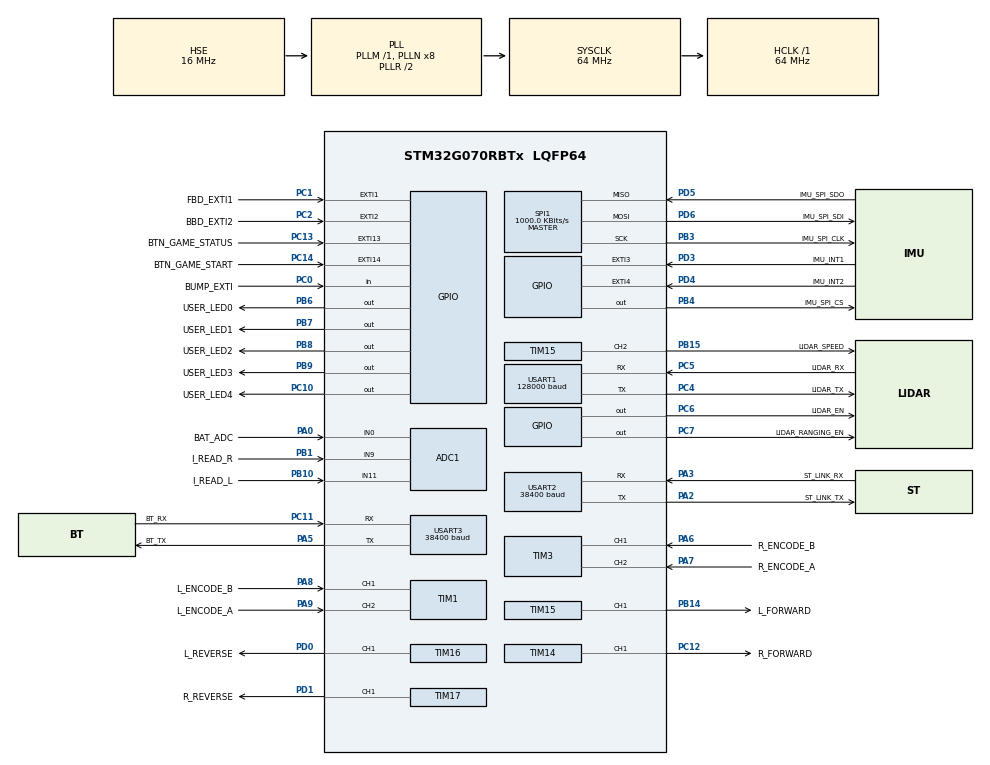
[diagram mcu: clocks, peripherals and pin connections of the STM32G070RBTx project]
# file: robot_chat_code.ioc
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ADC1.Channel-6\#ChannelRegularConversion=ADC_CHANNEL_0
ADC1.Channel-7\#ChannelRegularConversion=ADC_CHANNEL_9
ADC1.Channel-8\#ChannelRegularConversion=ADC_CHANNEL_11
ADC1.DMAContinuousRequests=ENABLE
ADC1.DiscontinuousConvMode=DISABLE
ADC1.EOCSelection=ADC_EOC_SEQ_CONV
ADC1.ExternalTrigConv=ADC_EXTERNALTRIG_T15_TRGO
ADC1.NbrOfConversion=3
ADC1.NbrOfConversionFlag=1
ADC1.Overrun=ADC_OVR_DATA_PRESERVED
ADC1.OversamplingMode=ENABLE
ADC1.Rank-6\#ChannelRegularConversion=1
ADC1.Rank-7\#ChannelRegularConversion=2
ADC1.Rank-8\#ChannelRegularConversion=3
ADC1.Ratio=ADC_OVERSAMPLING_RATIO_16
ADC1.SamplingTime-6\#ChannelRegularConversion=ADC_SAMPLINGTIME_COMMON_1
ADC1.SamplingTime-7\#ChannelRegularConversion=ADC_SAMPLINGTIME_COMMON_2
ADC1.SamplingTime-8\#ChannelRegularConversion=ADC_SAMPLINGTIME_COMMON_2
ADC1.SamplingTimeCommon1=ADC_SAMPLETIME_1CYCLE_5
ADC1.SamplingTimeCommon2=ADC_SAMPLETIME_1CYCLE_5
ADC1.ScanConvMode=ADC_SCAN_ENABLE
ADC1.SelectedChannel=ADC_CHANNEL_0|ADC_CHANNEL_9|ADC_CHANNEL_11
ADC1.Sequencer=FULLY_CONFIGURABLE
ADC1.TriggerFrequencyMode=ADC_TRIGGER_FREQ_HIGH
ADC1.master=1
Dma.ADC1.2.Direction=DMA_PERIPH_TO_MEMORY
Dma.ADC1.2.EventEnable=DISABLE
Dma.ADC1.2.Instance=DMA1_Channel3
Dma.ADC1.2.MemDataAlignment=DMA_MDATAALIGN_HALFWORD
Dma.ADC1.2.MemInc=DMA_MINC_ENABLE
Dma.ADC1.2.Mode=DMA_CIRCULAR
Dma.ADC1.2.PeriphDataAlignment=DMA_PDATAALIGN_HALFWORD
Dma.ADC1.2.PeriphInc=DMA_PINC_DISABLE
Dma.ADC1.2.Polarity=HAL_DMAMUX_REQ_GEN_RISING
Dma.ADC1.2.Priority=DMA_PRIORITY_LOW
Dma.ADC1.2.RequestNumber=1
Dma.ADC1.2.SignalID=NONE
Dma.ADC1.2.SyncEnable=DISABLE
Dma.ADC1.2.SyncPolarity=HAL_DMAMUX_SYNC_NO_EVENT
Dma.ADC1.2.SyncRequestNumber=1
Dma.ADC1.2.SyncSignalID=NONE
Dma.Request0=USART1_RX
Dma.Request1=USART2_TX
Dma.Request2=ADC1
Dma.Request3=USART3_TX
Dma.USART1_RX.0.Direction=DMA_PERIPH_TO_MEMORY
Dma.USART1_RX.0.EventEnable=DISABLE
Dma.USART1_RX.0.Instance=DMA1_Channel1
Dma.USART1_RX.0.MemDataAlignment=DMA_MDATAALIGN_BYTE
Dma.USART1_RX.0.MemInc=DMA_MINC_ENABLE
Dma.USART1_RX.0.Mode=DMA_CIRCULAR
Dma.USART1_RX.0.PeriphDataAlignment=DMA_PDATAALIGN_BYTE
Dma.USART1_RX.0.PeriphInc=DMA_PINC_DISABLE
Dma.USART1_RX.0.Polarity=HAL_DMAMUX_REQ_GEN_RISING
Dma.USART1_RX.0.Priority=DMA_PRIORITY_LOW
Dma.USART1_RX.0.RequestNumber=1
Dma.USART1_RX.0.SignalID=NONE
Dma.USART1_RX.0.SyncEnable=DISABLE
Dma.USART1_RX.0.SyncPolarity=HAL_DMAMUX_SYNC_NO_EVENT
Dma.USART1_RX.0.SyncRequestNumber=1
Dma.USART1_RX.0.SyncSignalID=NONE
Dma.USART2_TX.1.Direction=DMA_MEMORY_TO_PERIPH
Dma.USART2_TX.1.EventEnable=DISABLE
Dma.USART2_TX.1.Instance=DMA1_Channel2
Dma.USART2_TX.1.MemDataAlignment=DMA_MDATAALIGN_BYTE
Dma.USART2_TX.1.MemInc=DMA_MINC_ENABLE
Dma.USART2_TX.1.Mode=DMA_NORMAL
Dma.USART2_TX.1.PeriphDataAlignment=DMA_PDATAALIGN_BYTE
Dma.USART2_TX.1.PeriphInc=DMA_PINC_DISABLE
Dma.USART2_TX.1.Polarity=HAL_DMAMUX_REQ_GEN_RISING
Dma.USART2_TX.1.Priority=DMA_PRIORITY_LOW
Dma.USART2_TX.1.RequestNumber=1
Dma.USART2_TX.1.SignalID=NONE
Dma.USART2_TX.1.SyncEnable=DISABLE
Dma.USART2_TX.1.SyncPolarity=HAL_DMAMUX_SYNC_NO_EVENT
Dma.USART2_TX.1.SyncRequestNumber=1
Dma.USART2_TX.1.SyncSignalID=NONE
Dma.USART3_TX.3.Direction=DMA_MEMORY_TO_PERIPH
Dma.USART3_TX.3.EventEnable=DISABLE
Dma.USART3_TX.3.Instance=DMA1_Channel4
Dma.USART3_TX.3.MemDataAlignment=DMA_MDATAALIGN_BYTE
Dma.USART3_TX.3.MemInc=DMA_MINC_ENABLE
Dma.USART3_TX.3.Mode=DMA_NORMAL
Dma.USART3_TX.3.PeriphDataAlignment=DMA_PDATAALIGN_BYTE
Dma.USART3_TX.3.PeriphInc=DMA_PINC_DISABLE
Dma.USART3_TX.3.Polarity=HAL_DMAMUX_REQ_GEN_RISING
Dma.USART3_TX.3.Priority=DMA_PRIORITY_LOW
Dma.USART3_TX.3.RequestNumber=1
Dma.USART3_TX.3.SignalID=NONE
Dma.USART3_TX.3.SyncEnable=DISABLE
Dma.USART3_TX.3.SyncPolarity=HAL_DMAMUX_SYNC_NO_EVENT
Dma.USART3_TX.3.SyncRequestNumber=1
Dma.USART3_TX.3.SyncSignalID=NONE
FREERTOS.Tasks01=defaultTask,0,128,StartDefaultTask,Default,NULL,Dynamic,NULL,NULL
FREERTOS.configGENERATE_RUN_TIME_STATS=1
FREERTOS.configTOTAL_HEAP_SIZE=20000
FREERTOS.configUSE_STATS_FORMATTING_FUNCTIONS=1
FREERTOS.configUSE_TRACE_FACILITY=1
Mcu.Family=STM32G0
Mcu.Name=STM32G070RBTx
Mcu.Package=LQFP64
NVIC.DMA1_Ch4_7_DMAMUX1_OVR_IRQn=true\:3\:0\:false\:false\:true\:true\:false\:true\:true
NVIC.DMA1_Channel1_IRQn=true\:3\:0\:false\:false\:true\:false\:false\:true\:true
NVIC.DMA1_Channel2_3_IRQn=true\:3\:0\:false\:false\:true\:false\:false\:true\:true
NVIC.EXTI0_1_IRQn=true\:3\:0\:false\:false\:true\:true\:true\:true\:true
NVIC.EXTI2_3_IRQn=true\:3\:0\:false\:false\:true\:true\:true\:true\:true
NVIC.EXTI4_15_IRQn=true\:3\:0\:false\:false\:true\:true\:true\:true\:true
NVIC.TIM15_IRQn=true\:3\:0\:false\:false\:true\:true\:true\:true\:true
NVIC.TIM6_IRQn=true\:3\:0\:false\:false\:true\:false\:false\:true\:true
NVIC.TimeBase=TIM6_IRQn
NVIC.TimeBaseIP=TIM6
NVIC.USART1_IRQn=true\:3\:0\:false\:false\:true\:true\:true\:true\:true
NVIC.USART2_IRQn=true\:3\:0\:false\:false\:true\:true\:true\:true\:true
NVIC.USART3_4_IRQn=true\:3\:0\:false\:false\:true\:true\:true\:true\:true
PA0.GPIO_Label=BAT_ADC
PA0.Mode=IN0
PA0.Signal=ADC1_IN0
PA13.Mode=Serial_Wire
PA13.Signal=SYS_SWDIO
PA14-BOOT0.Mode=Serial_Wire
PA14-BOOT0.Signal=SYS_SWCLK
PA2.GPIO_Label=ST_LINK_TX
PA2.Mode=Asynchronous
PA2.Signal=USART2_TX
PA3.GPIO_Label=ST_LINK_RX
PA3.Mode=Asynchronous
PA3.Signal=USART2_RX
PA5.GPIO_Label=BT_TX
PA5.Mode=Asynchronous
PA5.Signal=USART3_TX
PA6.GPIO_Label=R_ENCODE_B
PA6.Signal=S_TIM3_CH1
PA7.GPIO_Label=R_ENCODE_A
PA7.Signal=S_TIM3_CH2
PA8.GPIO_Label=L_ENCODE_B
PA8.Signal=S_TIM1_CH1
PA9.GPIO_Label=L_ENCODE_A
PA9.Signal=S_TIM1_CH2
PB1.GPIO_Label=I_READ_R
PB1.Mode=IN9
PB1.Signal=ADC1_IN9
PB10.GPIO_Label=I_READ_L
PB10.Mode=IN11
PB10.Signal=ADC1_IN11
PB14.GPIO_Label=L_FORWARD
PB14.Signal=S_TIM15_CH1
PB15.GPIO_Label=LIDAR_SPEED
PB15.Signal=S_TIM15_CH2
PB3.GPIO_Label=IMU_SPI_CLK
PB3.Mode=Full_Duplex_Master
PB3.Signal=SPI1_SCK
PB4.GPIO_Label=IMU_SPI_CS
PB4.PinState=GPIO_PIN_SET
PB4.Signal=GPIO_Output
PB6.GPIO_Label=USER_LED0
PB6.Signal=GPIO_Output
PB7.GPIO_Label=USER_LED1
PB7.Signal=GPIO_Output
PB8.GPIO_Label=USER_LED2
PB8.Signal=GPIO_Output
PB9.GPIO_Label=USER_LED3
PB9.Signal=GPIO_Output
PC0.GPIO_Label=BUMP_EXTI
PC0.Signal=GPIO_Input
PC1.GPIO_Label=FBD_EXTI1
PC1.GPIO_ModeDefaultEXTI=GPIO_MODE_IT_RISING_FALLING
PC1.GPIO_PuPd=GPIO_PULLDOWN
PC1.Signal=GPXTI1
PC10.GPIO_Label=USER_LED4
PC10.Signal=GPIO_Output
PC11.GPIO_Label=BT_RX
PC11.Mode=Asynchronous
PC11.Signal=USART3_RX
PC12.GPIO_Label=R_FORWARD
PC12.Signal=S_TIM14_CH1
PC13.GPIO_Label=BTN_GAME_STATUS
PC13.GPIO_ModeDefaultEXTI=GPIO_MODE_IT_RISING
PC13.GPIO_PuPd=GPIO_PULLDOWN
PC13.Signal=GPXTI13
PC14-OSC32_IN\ (PC14).GPIO_Label=BTN_GAME_START
PC14-OSC32_IN\ (PC14).GPIO_PuPd=GPIO_PULLDOWN
PC14-OSC32_IN\ (PC14).Signal=GPXTI14
PC2.GPIO_Label=BBD_EXTI2
PC2.GPIO_ModeDefaultEXTI=GPIO_MODE_IT_RISING_FALLING
PC2.GPIO_PuPd=GPIO_PULLDOWN
PC2.Signal=GPXTI2
PC4.GPIO_Label=LIDAR_TX
PC4.Mode=Asynchronous
PC4.Signal=USART1_TX
PC5.GPIO_Label=LIDAR_RX
PC5.Mode=Asynchronous
PC5.Signal=USART1_RX
PC6.GPIO_Label=LIDAR_EN
PC6.Signal=GPIO_Output
PC7.GPIO_Label=LIDAR_RANGING_EN
PC7.Signal=GPIO_Output
PD0.GPIO_Label=L_REVERSE
PD0.Signal=S_TIM16_CH1
PD1.GPIO_Label=R_REVERSE
PD1.Signal=S_TIM17_CH1
PD3.GPIO_Label=IMU_INT1
PD3.Signal=GPXTI3
PD4.GPIO_Label=IMU_INT2
PD4.Signal=GPXTI4
PD5.GPIO_Label=IMU_SPI_SDO
PD5.Mode=Full_Duplex_Master
PD5.Signal=SPI1_MISO
PD6.GPIO_Label=IMU_SPI_SDI
PD6.Mode=Full_Duplex_Master
PD6.Signal=SPI1_MOSI
PF0-OSC_IN\ (PF0).Mode=HSE-External-Oscillator
PF0-OSC_IN\ (PF0).Signal=RCC_OSC_IN
PF1-OSC_OUT\ (PF1).Mode=HSE-External-Oscillator
PF1-OSC_OUT\ (PF1).Signal=RCC_OSC_OUT
ProjectManager.HeapSize=0x400
ProjectManager.StackSize=0x800
ProjectManager.TargetToolchain=STM32CubeIDE
RCC.ADCFreq_Value=64000000
RCC.AHBFreq_Value=64000000
RCC.CortexFreq_Value=64000000
RCC.EXTERNAL_CLOCK_VALUE=48000
RCC.HCLKFreq_Value=64000000
RCC.HSE_VALUE=16000000
RCC.HSI_VALUE=16000000
RCC.LSE_VALUE=32768
RCC.PLLSourceVirtual=RCC_PLLSOURCE_HSE
RCC.SYSCLKFreq_VALUE=64000000
RCC.SYSCLKSource=RCC_SYSCLKSOURCE_PLLCLK
RCC.VCOOutputFreq_Value=128000000
SH.S_TIM14_CH1.0=TIM14_CH1,PWM Generation1 CH1
SH.S_TIM15_CH1.0=TIM15_CH1,PWM Generation1 CH1
SH.S_TIM15_CH2.0=TIM15_CH2,PWM Generation2 CH2
SH.S_TIM16_CH1.0=TIM16_CH1,PWM Generation1 CH1
SH.S_TIM17_CH1.0=TIM17_CH1,PWM Generation1 CH1
SH.S_TIM1_CH1.0=TIM1_CH1,Encoder_Interface
SH.S_TIM1_CH2.0=TIM1_CH2,Encoder_Interface
SH.S_TIM3_CH1.0=TIM3_CH1,Encoder_Interface
SH.S_TIM3_CH2.0=TIM3_CH2,Encoder_Interface
SPI1.BaudRatePrescaler=SPI_BAUDRATEPRESCALER_64
SPI1.CalculateBaudRate=1000.0 KBits/s
SPI1.DataSize=SPI_DATASIZE_8BIT
SPI1.Direction=SPI_DIRECTION_2LINES
SPI1.Mode=SPI_MODE_MASTER
SPI1.VirtualType=VM_MASTER
TIM14.Channel=TIM_CHANNEL_1
TIM14.Period=1023
TIM14.Prescaler=2
TIM15.Channel-PWM\ Generation1\ CH1=TIM_CHANNEL_1
TIM15.Channel-PWM\ Generation2\ CH2=TIM_CHANNEL_2
TIM15.Period=1023
TIM15.Prescaler=2
TIM15.TIM_MasterOutputTrigger=TIM_TRGO_UPDATE
TIM15.TIM_MasterSlaveMode=TIM_MASTERSLAVEMODE_DISABLE
TIM16.Channel=TIM_CHANNEL_1
TIM16.Period=1023
TIM16.Prescaler=2
TIM17.Channel=TIM_CHANNEL_1
TIM17.Period=1023
TIM17.Prescaler=2
USART1.BaudRate=128000
USART1.SwapParam=ADVFEATURE_SWAP_ENABLE
USART1.VirtualMode-Asynchronous=VM_ASYNC
USART2.BaudRate=38400
USART2.VirtualMode-Asynchronous=VM_ASYNC
USART3.BaudRate=38400
USART3.SwapParam=ADVFEATURE_SWAP_ENABLE
USART3.VirtualMode-Asynchronous=VM_ASYNC
VP_FREERTOS_VS_CMSIS_V1.Mode=CMSIS_V1
VP_SYS_VS_tim6.Mode=TIM6
VP_TIM14_VS_ClockSourceINT.Mode=Enable_Timer
VP_TIM15_VS_ClockSourceINT.Mode=Internal
VP_TIM16_VS_ClockSourceINT.Mode=Enable_Timer
VP_TIM17_VS_ClockSourceINT.Mode=Enable_Timer
VP_TIM7_VS_ClockSourceINT.Mode=Enable_Timer
board=custom

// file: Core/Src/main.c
/* USER CODE BEGIN Header */
/**
 ******************************************************************************
 * @file           : main.c
 * @brief          : Main program body
 ******************************************************************************
 * @attention
 *
 * Copyright (c) 2023 STMicroelectronics.
 * All rights reserved.
 *
 * This software is licensed under terms that can be found in the LICENSE file
 * in the root directory of this software component.
 * If no LICENSE file comes with this software, it is provided AS-IS.
 *
 ******************************************************************************
 */
/* USER CODE END Header */
#include "main.h"
#include "cmsis_os.h"
#include "adc.h"
#include "dma.h"
#include "spi.h"
#include "tim.h"
#include "usart.h"
#include "gpio.h"

/* USER CODE BEGIN Includes */
#include <stdio.h>
#include <string.h>
#include "ydlidar_x4.h"
#include "imu.h"
#include "motor.h"
#include "fixpoint_math.h"
#include "control.h"
#include "odometry.h"
#include "trajectoire.h"
/* USER CODE END Includes */

/* USER CODE BEGIN PTD */
typedef enum{
	HUNTER			= 0x10,
	PREY			= 0x20,
	FALL_FORWARD 	= 0x00,
	FALL_BACKWARD 	= 0x01,
	COLL_FRONT 		= 0x02,
	COLL_BACK 		= 0x03,
	COLL_LEFT 		= 0x04,
	COLL_RIGHT 		= 0x05
}strat_mode_t;
/* USER CODE END PTD */

/* USER CODE BEGIN PD */
#define QUEUE_PRINTF_SIZE 100
#define QUEUE_PRINTF_LENGTH 10
#define DEFAULT_STACK_SIZE 512
#define DEFAULT_TASK_PRIORITY 1
#define DEFAULT_LIDAR_SPEED 950
#define TRUNC_FIXP 1000000000000

#define WHEEL_DIAMETER (43<<24) 	//43mm diameter, Q8.24
#define WHEEL_DIST (153<<16) 		//153mm distance between wheels, Q16.16
#define ENC_TICKSPERREV (400<<16)		//400 encoder ticks per revolution, Q16.16
#define ODOMETRY_FREQ 50 			//50Hz odometry refresh frequency
#define ROBOT_SPEED (500<<16) 		//robot speed, mm/s Q16.16
/* USER CODE END PD */

/* USER CODE BEGIN PV */
QueueHandle_t q_printf = NULL;

TaskHandle_t h_task_init = NULL;
TaskHandle_t h_IMU_taskRead = NULL;
TaskHandle_t h_printf = NULL;
TaskHandle_t h_task_lidar = NULL;
TaskHandle_t h_task_lidar_ISR = NULL;
TaskHandle_t h_task_BT_and_Wire_RX_ISR = NULL;
TaskHandle_t h_task_BTN_ISR = NULL;
TaskHandle_t h_task_Motor = NULL;
TaskHandle_t h_task_MotorSpeed = NULL;

SemaphoreHandle_t lidar_RX_semaphore;
SemaphoreHandle_t Wire_BT_RX_semaphore;
SemaphoreHandle_t BTN_STATUS_semaphore;

BaseType_t ret;
h_ydlidar_x4_t lidar;
h_imu_drv_t h_imu;
uint8_t BT_RX;
uint8_t rx_pc;
uint8_t string_display[720];
hMotor_t Rmot;
hMotor_t Lmot;
hOdometry_t hOdometry;
int32_t mot_speed = 0;
int16_t cnt = 0;
int32_t angle = 0;
uint8_t odom_overflow = 0;
//vector_t test_vect = {-1*(2<<16),1<<16};
strat_mode_t strat_mode = PREY;
/* USER CODE END PV */

void SystemClock_Config(void);
void MX_FREERTOS_Init(void);
/* USER CODE BEGIN PFP */
int __io_putchar(int ch)
{
	HAL_UART_Transmit(&huart2, (uint8_t *)&ch, 1, HAL_MAX_DELAY);
	HAL_UART_Transmit(&huart3, (uint8_t *)&ch, 1, HAL_MAX_DELAY);
	return ch;
}

void HAL_UART_RxCpltCallback(UART_HandleTypeDef * huart){
	if(huart->Instance == USART1){
		BaseType_t xHigherPriorityTaskToken = pdFALSE;
		xSemaphoreGiveFromISR(lidar_RX_semaphore, &xHigherPriorityTaskToken);
		portYIELD_FROM_ISR(xHigherPriorityTaskToken);
	}
	else if(huart->Instance == USART3 || huart->Instance == USART2){
		BaseType_t xHigherPriorityTaskToken = pdFALSE;
		xSemaphoreGiveFromISR(Wire_BT_RX_semaphore, &xHigherPriorityTaskToken);
		portYIELD_FROM_ISR(xHigherPriorityTaskToken);
	}
}

void HAL_UART_RxHalfCpltCallback(UART_HandleTypeDef *huart)
{
	if(huart->Instance == USART1){
		BaseType_t xHigherPriorityTaskToken = pdFALSE;
		xSemaphoreGiveFromISR(lidar_RX_semaphore, &xHigherPriorityTaskToken);
		portYIELD_FROM_ISR(xHigherPriorityTaskToken);
	}
}

int lidar_uart_transmit(uint8_t *p_data, uint16_t size)
{
	HAL_UART_Transmit(&huart1,p_data, size, HAL_MAX_DELAY);
	return 0;
}

int lidar_uart_receive(uint8_t *p_data)
{
	HAL_UART_Receive_DMA(&huart1,p_data, LIDAR2DMA_SIZE);
	return 0;
}

void HAL_GPIO_EXTI_Rising_Callback(uint16_t GPIO_Pin)
{
	if(GPIO_Pin == GPIO_PIN_13) {
		BaseType_t xHigherPriorityTaskToken = pdFALSE;
		xSemaphoreGiveFromISR(BTN_STATUS_semaphore, &xHigherPriorityTaskToken);
		portYIELD_FROM_ISR(xHigherPriorityTaskToken);
	}

	if(GPIO_Pin == FBD_EXTI1_Pin) {
		HAL_GPIO_WritePin(USER_LED3_GPIO_Port, USER_LED3_Pin, 1);
	}
	if(GPIO_Pin == BBD_EXTI2_Pin) {
		HAL_GPIO_WritePin(USER_LED3_GPIO_Port, USER_LED3_Pin, 1);
	}
}

void HAL_GPIO_EXTI_Falling_Callback(uint16_t GPIO_Pin){
	if(GPIO_Pin == FBD_EXTI1_Pin) {
		HAL_GPIO_WritePin(USER_LED3_GPIO_Port, USER_LED3_Pin, 0);
	}
	if(GPIO_Pin == BBD_EXTI2_Pin) {
		HAL_GPIO_WritePin(USER_LED3_GPIO_Port, USER_LED3_Pin, 0);
	}
}

void task_init(void * unused)
{

	printf("Task init ok\r\n");
	for(;;){
		//imu_dev(&h_imu);
		//printf("Task init looping\r\n");
		HAL_GPIO_TogglePin(USER_LED0_GPIO_Port, USER_LED0_Pin);
		//HAL_GPIO_TogglePin(USER_LED1_GPIO_Port, USER_LED1_Pin);
		//HAL_GPIO_TogglePin(USER_LED2_GPIO_Port, USER_LED2_Pin);
		//HAL_GPIO_TogglePin(USER_LED3_GPIO_Port, USER_LED3_Pin);
		//HAL_GPIO_TogglePin(USER_LED4_GPIO_Port, USER_LED4_Pin);
		vTaskDelay(1000);
	}
}

void IMU_taskRead(void * unused)
{
	uint8_t msg [QUEUE_PRINTF_SIZE];
	uint32_t time_lapped;

	for(;;){
		//printf("Task init looping\r\n");
		time_lapped = __HAL_TIM_GET_COUNTER(&htim7);
		//__HAL_TIM_SET_COUNTER(&htim7, 0);
		//HAL_TIM_Base_Start(&htim7);
		IMU_gyro(&h_imu);

		/*uint8_t gyro_addr = 0x11;
		uint8_t value[3];
		IMU_read8(&h_imu, gyro_addr, value);*/

		/*if(!odom_overflow){
			sprintf(msg, "Mesures de vitesse de rotation faite en %d us\r\n", time_lapped);
			xQueueSend(q_printf, (void *)msg, 5);
		}
		else{
			sprintf(msg, "Mesures de vitesse de rotation faite, mais la base de temps est corrompue (%d overflow(s))\r\n", odom_overflow);
			xQueueSend(q_printf, (void *)msg, 5);
		}*/

		//sprintf(msg, "Lecture des accelerations :\r\n- Gyro X :%d\r\n- Gyro Y :%d\r\n- Gyro Z :%d\r\n", h_imu.gyro[0],  h_imu.gyro[1], h_imu.gyro[2]);
		//xQueueSend(q_printf, (void *)msg, 5);

		//printf("Task init looping\r\n");
		//HAL_GPIO_TogglePin(USER_LED1_GPIO_Port, USER_LED1_Pin);
		vTaskDelay(5);
	}
}

void printfTask(void * unused)
{
	uint8_t msg[QUEUE_PRINTF_SIZE];
	BaseType_t ret;
	for(;;){
		ret = xQueueReceive(q_printf, (void *)msg, portMAX_DELAY);
		uint16_t msg_len = strlen(msg);
		if(ret == pdTRUE){
			//printf(msg);
			HAL_UART_Transmit_IT(&huart2, msg, msg_len);
		}
	}
}

void task_lidar(void * unused)
{
	printf("Task lidar ok\r\n");
	lidar.serial_drv.transmit = lidar_uart_transmit;
	lidar.serial_drv.receive = lidar_uart_receive;
	lidar.decode_state = SCANNING;
	lidar.serial_drv.receive(lidar.buf_DMA);
	lidar.nb_smpl = 0;
	lidar.start_angl = 0;
	lidar.end_angl = 0;
	HAL_GPIO_WritePin(LIDAR_RANGING_EN_GPIO_Port, LIDAR_RANGING_EN_Pin, GPIO_PIN_SET);
	HAL_GPIO_WritePin(LIDAR_EN_GPIO_Port, LIDAR_EN_Pin, GPIO_PIN_SET);
	HAL_TIM_PWM_Start(&htim15, TIM_CHANNEL_2);
	__HAL_TIM_SET_COMPARE(&htim15,TIM_CHANNEL_2, DEFAULT_LIDAR_SPEED-1);
	vTaskDelete(0);
	/*for(;;){
		if( xSemaphoreTake(lidar_RX_semaphore, 1000) == pdFALSE)
		{
			//HAL_NVIC_SystemReset();
		}
		ydlidar_x4_irq_cb(&lidar);
	}*/
}

void task_lidar_ISR(void * unused)
{
	printf("Task lidar ISR ok\r\n");
	for(;;){
		xSemaphoreTake(lidar_RX_semaphore, portMAX_DELAY );
		ydlidar_x4_irq_cb(&lidar);
		HAL_GPIO_TogglePin(USER_LED3_GPIO_Port, USER_LED3_Pin);
	}
}

void task_BT_and_Wire_RX_ISR(void * unused)
{
	printf("Task lidar ISR ok\r\n");
	HAL_UART_Receive_IT(&huart2, &rx_pc, 1);
	HAL_UART_Receive_IT(&huart3, &rx_pc, 1);
	for(;;){
		xSemaphoreTake(Wire_BT_RX_semaphore, portMAX_DELAY );
		if(rx_pc == 0xAA){
			rx_pc = 0xFF;
			for(int i=0;i<720;i++){
				if(i%2 == 0){
					string_display[i] = (lidar.sorted_dist[i>>1])>>8;
				}else{
					string_display[i] = (lidar.sorted_dist[i>>1]) & 0x00FF;
				}
			}
			HAL_UART_Transmit_DMA(&huart2,string_display, 720);
			HAL_UART_Transmit_DMA(&huart3,string_display, 720);
			HAL_UART_Receive_IT(&huart2, &rx_pc, 1);
			HAL_UART_Receive_IT(&huart3, &rx_pc, 1);
		}
		HAL_GPIO_TogglePin(USER_LED2_GPIO_Port, USER_LED2_Pin);
	}
}

void task_BTN_ISR(void * unused)
{
	printf("Task BTN ok\r\n");
	for(;;){
		xSemaphoreTake(BTN_STATUS_semaphore, portMAX_DELAY);
		ydlidar_x4_scan(&lidar);
		HAL_GPIO_TogglePin(USER_LED1_GPIO_Port, USER_LED1_Pin);
		//mot_speed ^= 1;
	}
}

void task_Motor(void * unused)
{
	vTaskDelay(10);
	motor_set_PWM(&Rmot, 0);
	motor_set_PWM(&Lmot, 0);
	Rmot.current_offset = Rmot.adc_dma_buff[Rmot.dma_buff_index];
	Lmot.current_offset = Lmot.adc_dma_buff[Lmot.dma_buff_index];
	int32_t speed = 0;
	int32_t angle = 0;
	uint32_t norm = 0;
	for(;;)
	{
		vTaskDelay(500);
		speed = Rmot.speed_measured[Rmot.speed_index];
		//CORDIC_vector(&test_vect);
		//angle = test_vect.angle*10;
		//norm = test_vect.norm*100;
		//printf("angle = %d, norme = %d\r\n", (int)angle/(1<<24), (int)norm/(1<<16));
		//printf("FWD %d\r\n",(int)(int16_t)__HAL_TIM_GET_COMPARE(Lmot.tim_FWD,TIM_CHANNEL_1));
		//printf("REV %d\r\n",(int)(int16_t)__HAL_TIM_GET_COMPARE(Lmot.tim_REV,TIM_CHANNEL_1));
		//printf("L Vdiff %d\r\n", (int)(fixed_div(Lmot.speed_output[Lmot.speed_index],128<<16,16) - fixed_div(Lmot.speed_measured[Lmot.speed_index],80<<16,16))/(1<<16));
		//printf("angle %d\r\n", (int)(hOdometry.angle*10/(1<<24)));
		//printf("dr %d\r\n", (int)(hOdometry.dr/(1<<24)));
		//printf("x %d, y %d\r\n", (int)hOdometry.x/(1<<16), (int)hOdometry.y/(1<<16));
		//printf("counts %d\r\n", (int)cnt);

		/*motor_set_PWM(&Rmot, 512);
		motor_set_PWM(&Lmot, 512);
		vTaskDelay(2000);
		motor_set_PWM(&Rmot, 0);
		motor_set_PWM(&Lmot, 0);
		vTaskDelay(2000);
		motor_set_PWM(&Rmot, -512);
		motor_set_PWM(&Lmot, -512);*/
	}
}

void task_MotorSpeed(void * unused)
{
	uint32_t V = 0;
	int32_t speed = 0;
	int32_t angle_corr = 0;
	int32_t Lspeed = 0;
	int32_t Rspeed = 0;
	for(;;)
	{
		//V = battery_get_voltage();
		cnt = (int16_t)__HAL_TIM_GET_COUNTER(Rmot.tim_ENC);
		odometry_update_pos(&hOdometry);
		//motor_get_speed(&Rmot);
		//motor_get_speed(&Lmot);
		//motor_get_current(&Rmot);
		//motor_get_current(&Lmot);
		if(hOdometry.x > 1000<<15)
		{
			angle += PI;
			hOdometry.x = 0;
		}
		if(hOdometry.y > 1000<<15)
		{
			angle += PI;
			hOdometry.y = 0;
			//mot_speed = 0;
		}
		if(hOdometry.x < -1000<<15)
		{
			angle += PI;
			hOdometry.x = 0;
		}
		if(hOdometry.y < -1000<<15)
		{
			angle += PI;
			hOdometry.y = 0;
			//mot_speed = 0;
		}
		if(angle > PI)
		{
			angle = -PI + angle%PI;
		}
		else if(angle < -PI)
		{
			angle = PI - angle%PI;
		}
		angle_corr = set_angle_corr(&hOdometry, angle);
		Rspeed = (int32_t)ROBOT_SPEED + fixed_mul((int32_t)ROBOT_SPEED, angle_corr, 24);
		Lspeed = (int32_t)ROBOT_SPEED - fixed_mul((int32_t)ROBOT_SPEED, angle_corr, 24);
		//speed = Rmot.speed_measured[Rmot.speed_index];
		//motor_set_PWM(&Rmot, 1024);
		//printf("vitesse moteur = %d.%u mm/s, courant moteur = %d.%u mA, tension batterie = %d.%u V\r\n", (int)(speed/(1<<16)), (unsigned int)conv_frac16_dec(speed & 0xFFFF,TRUNC_FIXP), (int)(Rmot.current_measured[Rmot.current_index]/(1<<16)), (unsigned int)conv_frac16_dec(Rmot.current_measured[Rmot.current_index] & 0xFFFF, TRUNC_FIXP) , (int)(V/(1<<16)),(unsigned int)conv_frac16_dec(V & 0xFFFF,TRUNC_FIXP));
		//printf("counts = %d, mesure : %d.%u mm/s, error : %d.%u mm/s, output : %d.%u, integral : %d.%u\r\n", (int)cnt, (int)(speed/(1<<16)), (unsigned int)conv_frac16_dec(speed & 0xFFFF, TRUNC_FIXP),(int)(Rmot.speed_error[Rmot.speed_index]/(1<<16)), (unsigned int)conv_frac16_dec((Rmot.speed_error[Rmot.speed_index]) & 0xFFFF, TRUNC_FIXP), (int)Rmot.speed_output[Rmot.speed_index]/(1<<16), (unsigned int)conv_frac16_dec(Rmot.speed_output[Rmot.speed_index] & 0xFFFF, TRUNC_FIXP), (int)(Rmot.speed_integral/(1<<16)), (unsigned int)conv_frac16_dec(Rmot.speed_integral & 0xFFFF, TRUNC_FIXP));
		set_speed_PID(&Rmot,mot_speed*Rspeed);	// 1<<14 = 150rpm , 1<<13 = 75rpm
		set_speed_PID(&Lmot,-(mot_speed*Lspeed));
		//printf("vitesse moteur = %d.%u rpm, courant moteur = %d.%u mA, tension batterie = %d.%u V\r\n", (int)(speed/(1<<16)), (unsigned int)conv_frac16_dec(speed & 0xFFFF,TRUNC_FIXP), (int)(Rmot.current_measured[Rmot.current_index]/(1<<16)), (unsigned int)conv_frac16_dec(Rmot.current_measured[Rmot.current_index] & 0xFFFF, TRUNC_FIXP) , (int)(V/(1<<16)),(unsigned int)conv_frac16_dec(V & 0xFFFF,TRUNC_FIXP));
		//printf("adc buffer 0: %d, 1: %d, 2: %d, i = %d, count = %d\r\n", (int)adcBuff[0],(int)adcBuff[1],(int)adcBuff[2], k, (int)__HAL_TIM_GET_COUNTER(&htim15));
		vTaskDelay(20);
	}
}

void fall_detection(void * unused){

}

/* USER CODE END PFP */

int main(void)
{

  /* MCU Configuration--------------------------------------------------------*/

  /* Reset of all peripherals, Initializes the Flash interface and the Systick. */
  HAL_Init();

  /* Configure the system clock */
  SystemClock_Config();

  /* Initialize all configured peripherals */
  MX_GPIO_Init();
  MX_DMA_Init();
  MX_ADC1_Init();
  MX_TIM1_Init();
  MX_TIM3_Init();
  MX_TIM14_Init();
  MX_TIM15_Init();
  MX_TIM16_Init();
  MX_TIM17_Init();
  MX_USART1_UART_Init();
  MX_USART2_UART_Init();
  MX_USART3_UART_Init();
  MX_SPI1_Init();
  MX_TIM7_Init();
  /* USER CODE BEGIN 2 */
	lidar_RX_semaphore = xSemaphoreCreateBinary();
	Wire_BT_RX_semaphore = xSemaphoreCreateBinary();
	BTN_STATUS_semaphore = xSemaphoreCreateBinary();
	//q_printf = xQueueCreate(QUEUE_PRINTF_LENGTH, QUEUE_PRINTF_SIZE);

	HAL_TIM_PWM_Start_IT(&htim15,TIM_CHANNEL_1 | TIM_CHANNEL_2);

	current_sense_start();

	motor_init(&Rmot, &htim17, &htim14, &htim3, 1, 5<<16, 1<<14, 0, 1023<<16, 10, 0, 0, 0, 0);
	motor_init(&Lmot, &htim15, &htim16, &htim1, 2, 5<<16, 1<<14, 0, 1023<<16, 10, 0, 0, 0, 0);

	odometry_init(&hOdometry, &Rmot, &Lmot, WHEEL_DIAMETER, ENC_TICKSPERREV, WHEEL_DIST, ODOMETRY_FREQ);

	ret = xTaskCreate(task_init, "task_init", DEFAULT_STACK_SIZE/2, NULL, DEFAULT_TASK_PRIORITY, &h_task_init);
	if(ret != pdPASS)
	{
		printf("Could not create task init \r\n");
		Error_Handler();
	}
	ret = xTaskCreate(task_lidar, "task_lidar", DEFAULT_STACK_SIZE, NULL, DEFAULT_TASK_PRIORITY+2, &h_task_lidar);
	if(ret != pdPASS)
	{
		printf("Could not create task lidar \r\n");
		Error_Handler();
	}
	ret = xTaskCreate(task_lidar_ISR, "task_lidar_ISR", DEFAULT_STACK_SIZE, NULL, DEFAULT_TASK_PRIORITY+1, &h_task_lidar_ISR);
	if(ret != pdPASS)
	{
		printf("Could not create task lidar ISR \r\n");
		Error_Handler();
	}
	ret = xTaskCreate(task_BT_and_Wire_RX_ISR, "task_BT_and_Wire_RX_ISR", DEFAULT_STACK_SIZE, NULL, DEFAULT_TASK_PRIORITY, &h_task_BT_and_Wire_RX_ISR);
	if(ret != pdPASS)
	{
		printf("Could not create task BT ISR \r\n");
		Error_Handler();
	}
	ret = xTaskCreate(task_BTN_ISR, "task_BTN_ISR", DEFAULT_STACK_SIZE/2, NULL, DEFAULT_TASK_PRIORITY, &h_task_BTN_ISR);
	if(ret != pdPASS)
	{
		printf("Could not create task BTN ISR \r\n");
		Error_Handler();
	}
	ret = xTaskCreate(task_Motor, "task_Motor", DEFAULT_STACK_SIZE, NULL, DEFAULT_TASK_PRIORITY+4, &h_task_Motor);
	if(ret != pdPASS)
	{
		printf("Could not create task Motor \r\n");
		Error_Handler();
	}
	ret = xTaskCreate(task_MotorSpeed, "task_MotorSpeed", DEFAULT_STACK_SIZE, NULL, DEFAULT_TASK_PRIORITY+3, &h_task_MotorSpeed);
	if(ret != pdPASS)
	{
		printf("Could not create task MotorSpeed \r\n");
		Error_Handler();
	}

	/*ret = xTaskCreate(IMU_taskRead, "IMU_taskRead", DEFAULT_STACK_SIZE+50, NULL, DEFAULT_TASK_PRIORITY + 9, &h_IMU_taskRead);
	if(ret != pdPASS)
	{
		printf("Could not create IMU taskRead \r\n");
		Error_Handler();
	}*/

	//IMU_init(&h_imu);

	vTaskStartScheduler();
  /* USER CODE END 2 */

  /* Call init function for freertos objects (in freertos.c) */
  MX_FREERTOS_Init();

  /* Start scheduler */
  osKernelStart();

  /* We should never get here as control is now taken by the scheduler */
  /* Infinite loop */
	while (1)
	{

	}
}

void SystemClock_Config(void)
{
  RCC_OscInitTypeDef RCC_OscInitStruct = {0};
  RCC_ClkInitTypeDef RCC_ClkInitStruct = {0};

  /** Configure the main internal regulator output voltage
  */
  HAL_PWREx_ControlVoltageScaling(PWR_REGULATOR_VOLTAGE_SCALE1);

  /** Initializes the RCC Oscillators according to the specified parameters
  * in the RCC_OscInitTypeDef structure.
  */
  RCC_OscInitStruct.OscillatorType = RCC_OSCILLATORTYPE_HSE;
  RCC_OscInitStruct.HSEState = RCC_HSE_ON;
  RCC_OscInitStruct.PLL.PLLState = RCC_PLL_ON;
  RCC_OscInitStruct.PLL.PLLSource = RCC_PLLSOURCE_HSE;
  RCC_OscInitStruct.PLL.PLLM = RCC_PLLM_DIV1;
  RCC_OscInitStruct.PLL.PLLN = 8;
  RCC_OscInitStruct.PLL.PLLP = RCC_PLLP_DIV2;
  RCC_OscInitStruct.PLL.PLLR = RCC_PLLR_DIV2;
  if (HAL_RCC_OscConfig(&RCC_OscInitStruct) != HAL_OK)
  {
    Error_Handler();
  }

  /** Initializes the CPU, AHB and APB buses clocks
  */
  RCC_ClkInitStruct.ClockType = RCC_CLOCKTYPE_HCLK|RCC_CLOCKTYPE_SYSCLK
                              |RCC_CLOCKTYPE_PCLK1;
  RCC_ClkInitStruct.SYSCLKSource = RCC_SYSCLKSOURCE_PLLCLK;
  RCC_ClkInitStruct.AHBCLKDivider = RCC_SYSCLK_DIV1;
  RCC_ClkInitStruct.APB1CLKDivider = RCC_HCLK_DIV1;

  if (HAL_RCC_ClockConfig(&RCC_ClkInitStruct, FLASH_LATENCY_2) != HAL_OK)
  {
    Error_Handler();
  }
}

void HAL_TIM_PeriodElapsedCallback(TIM_HandleTypeDef *htim)
{
  if (htim->Instance == TIM6) {
    HAL_IncTick();
  }
  /* USER CODE BEGIN Callback 1 */
	if (htim->Instance == TIM7) {
		odom_overflow++;
		HAL_GPIO_TogglePin(USER_LED0_GPIO_Port, USER_LED0_Pin);
	}
  /* USER CODE END Callback 1 */
}

void Error_Handler(void)
{
  /* USER CODE BEGIN Error_Handler_Debug */
	HAL_GPIO_WritePin(USER_LED3_GPIO_Port, USER_LED3_Pin, 1);
	/* User can add his own implementation to report the HAL error return state */
	__disable_irq();
	while (1)
	{
	}
  /* USER CODE END Error_Handler_Debug */
}
